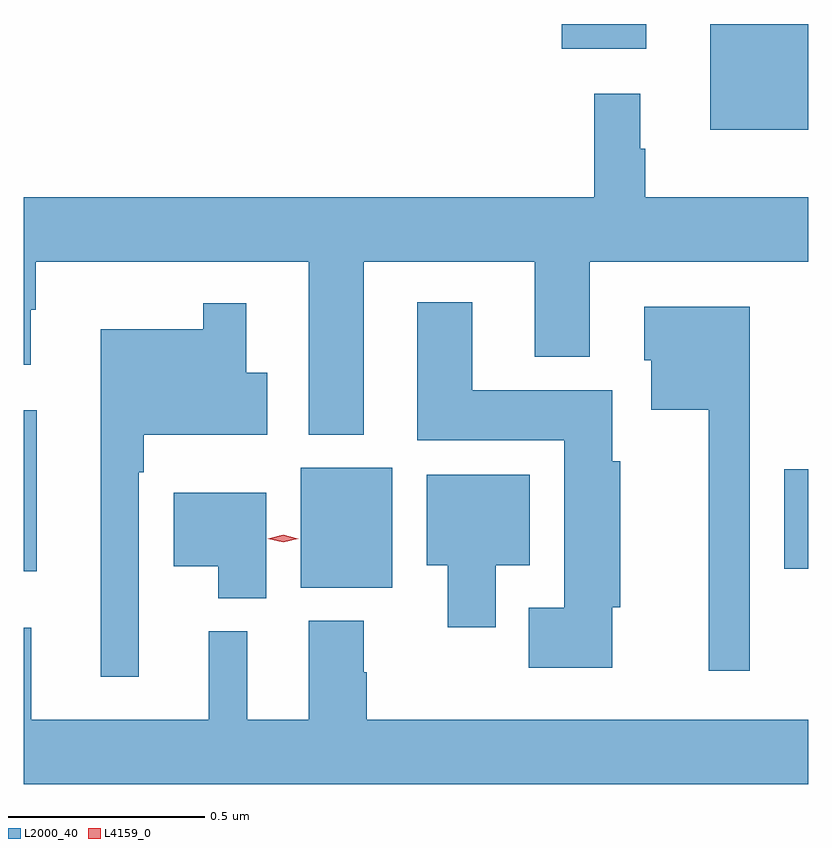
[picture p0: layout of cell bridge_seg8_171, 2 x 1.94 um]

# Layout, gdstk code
import gdstk
lib = gdstk.Library(unit=1e-6, precision=1e-09)
def R(c, l, rs):  # rectangles x0, y0, x1, y1
    for r in rs: c.add(gdstk.rectangle(r[:2], r[2:], *l))
def P(c, l, *ps):  # polygons
    for p in ps: c.add(gdstk.Polygon(p, *l))
L2000_40 = (2000, 40)
L4159_0 = (4159, 0)

bridge_seg8_171 = lib.new_cell('bridge_seg8_171')
R(bridge_seg8_171, L2000_40, [(542.312,1091.693,542.545,1091.998), (541.606,1091.735,541.639,1092.145), (543.545,1091.741,543.606,1091.995), (542.978,1093.067,543.193,1093.13)])
P(bridge_seg8_171, L2000_40, [(543.606,1093.129),(543.473,1093.129),(543.473,1093.13),(543.356,1093.13),(543.356,1092.86),(543.606,1092.86)],
  [(542.473,1092.524),(542.909,1092.524),(542.909,1092.281),(543.049,1092.281),(543.049,1092.524),(543.606,1092.524),(543.606,1092.688),(543.19,1092.688),(543.19,1092.812),(543.178,1092.812),(543.178,1092.952),(543.061,1092.952),(543.061,1092.688),(541.606,1092.688),(541.606,1092.261),(541.624,1092.261),(541.624,1092.401),(541.636,1092.401),(541.636,1092.524),(542.333,1092.524),(542.333,1092.083),(542.473,1092.083)],
  [(543.106,1091.643),(543.127,1091.643),(543.127,1092.015),(543.106,1092.015),(543.106,1092.196),(542.749,1092.196),(542.749,1092.421),(542.609,1092.421),(542.609,1092.068),(542.984,1092.068),(542.984,1091.641),(542.894,1091.641),(542.894,1091.489),(543.106,1091.489)],
  [(541.899,1091.987),(541.912,1091.987),(541.912,1092.083),(542.227,1092.083),(542.227,1092.241),(542.173,1092.241),(542.173,1092.418),(542.064,1092.418),(542.064,1092.352),(541.802,1092.352),(541.802,1091.466),(541.899,1091.466)],
  [(543.457,1092.409),(543.188,1092.409),(543.188,1092.273),(543.206,1092.273),(543.206,1092.146),(543.353,1092.146),(543.353,1091.481),(543.457,1091.481)],
  [(542.809,1091.75),(542.896,1091.75),(542.896,1091.98),(542.633,1091.98),(542.633,1091.75),(542.687,1091.75),(542.687,1091.592),(542.809,1091.592)],
  [(542.224,1091.935),(541.988,1091.935),(541.988,1091.747),(542.102,1091.747),(542.102,1091.666),(542.224,1091.666)],
  [(543.606,1091.356),(542.481,1091.356),(542.481,1091.477),(542.473,1091.477),(542.473,1091.608),(542.333,1091.608),(542.333,1091.356),(542.176,1091.356),(542.176,1091.581),(542.078,1091.581),(542.078,1091.356),(541.625,1091.356),(541.625,1091.59),(541.606,1091.59),(541.606,1091.192),(543.606,1091.192)])
P(bridge_seg8_171, L4159_0, [(542.267,1091.808),(542.228,1091.818),(542.228,1091.818),(542.228,1091.818),(542.267,1091.828),(542.306,1091.818),(542.306,1091.818),(542.306,1091.818)])

lib.write_gds('bridge_seg8_171.gds')
